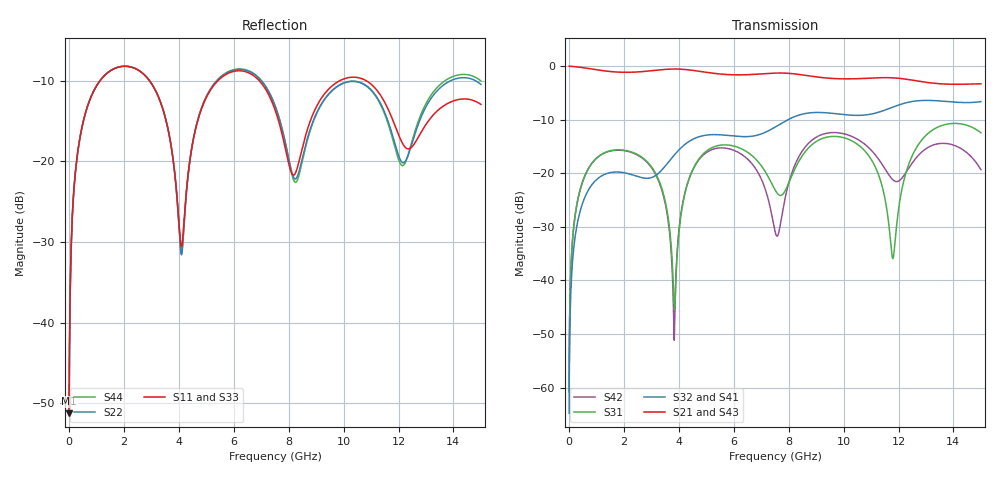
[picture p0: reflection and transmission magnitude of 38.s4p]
! Created with skrf 1.8.0 (http://scikit-rf.org).
# GHz S RI R 50.0
!freq ReS11 ImS11 ReS12 ImS12 ReS13 ImS13
! ReS14 ImS14
! ReS21 ImS21 ReS22 ImS22 ReS23 ImS23
! ReS24 ImS24
! ReS31 ImS31 ReS32 ImS32 ReS33 ImS33
! ReS34 ImS34
! ReS41 ImS41 ReS42 ImS42 ReS43 ImS43
! ReS44 ImS44
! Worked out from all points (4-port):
!   2499 points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, 5 MHz to 15 GHz, reference 50 ohm
!   strongest paths, dB at 5 MHz, 3.476 GHz, 7.19 GHz, 11.1 GHz, 15 GHz:
!     S21: 0.0, -0.6, -1.4, -2.2, -3.3
!     S43: 0.0, -0.6, -1.4, -2.2, -3.4
!     S32: -64.8, -18.8, -12.3, -8.9, -6.6
!     S41: -64.8, -18.9, -12.3, -8.9, -6.7
!     S31: -60.8, -24.6, -20.1, -18.3, -12.5
!     S42: -60.8, -25.0, -23.7, -16.2, -19.3
!   lowest |S11| = -51.3 dB at 5 MHz (marker M1), VSWR 1.01, Z = 50.2 + j0.166 ohm
!   |S11| at or under -10 dB: 2.932 GHz to 5.421 GHz (2.49 GHz wide, 59.6 % of centre); 6.931 GHz to 9.858 GHz (2.927 GHz wide, 34.9 % of centre); 10.83 GHz to end of sweep (the widest 3 of 4)
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0.005  0.00218 0.00165  0.9978 -0.00424  0.000113 0.000909  -0.000109 -0.000564
       0.9978 -0.00424  0.00218 0.00165  -0.000109 -0.000564  0.000113 0.000909
       0.000113 0.000909  -0.000109 -0.000564  0.00218 0.00165  0.9978 -0.00424
       -0.000109 -0.000564  0.000113 0.000909  0.9978 -0.00424  0.00218 0.00165
1.3193  0.3066 0.1559  0.4598 -0.7737  0.1484 0.0496  -0.0976 0.00946
        0.4598 -0.7737  0.3074 0.1552  -0.0977 0.00963  0.1462 0.0533
        0.1484 0.0496  -0.0977 0.00963  0.3065 0.156  0.4598 -0.7737
        -0.0976 0.00946  0.1462 0.0533  0.4598 -0.7737  0.3074 0.1551
3.832847  0.0447 -0.0783  -0.8987 -0.2708  -0.00531 -0.0019  -0.0391 0.1424
          -0.8987 -0.2708  0.0415 -0.0799  -0.0372 0.1429  -0.00276 0.000136
          -0.00531 -0.0019  -0.0372 0.1429  0.0445 -0.0782  -0.8987 -0.2707
          -0.0391 0.1424  -0.00276 0.000136  -0.8987 -0.2707  0.0417 -0.0797
4.802001  0.1386 0.1527  -0.7887 0.4105  0.1148 0.0857  0.1301 0.1787
          -0.7887 0.4105  0.1378 0.1555  0.1326 0.1775  0.1057 0.0921
          0.1148 0.0857  0.1326 0.1775  0.1377 0.1533  -0.7885 0.4107
          0.1301 0.1787  0.1057 0.0921  -0.7885 0.4107  0.1393 0.1556
8.172155  0.0818 -0.00602  0.8308 0.1682  -0.0335 0.0966  0.0649 -0.328
          0.8308 0.1682  0.0766 -0.0237  0.0562 -0.329  0.00284 0.1101
          -0.0335 0.0966  0.0562 -0.329  0.0872 -0.00877  0.8306 0.1689
          0.0649 -0.328  0.00284 0.1101  0.8306 0.1689  0.0727 -0.0262
10.89204  0.2969 -0.0933  -0.1305 -0.7588  0.0984 -0.1112  -0.3346 0.1051
          -0.1305 -0.7588  0.2752 -0.0889  -0.3321 0.1174  0.0866 -0.1525
          0.0984 -0.1112  -0.3321 0.1174  0.2915 -0.0921  -0.1317 -0.7598
          -0.3346 0.1051  0.0866 -0.1525  -0.1317 -0.7598  0.2728 -0.0897
15  0.223 -0.0331  0.039 0.682  0.1139 -0.2095  0.4578 -0.0631
    0.039 0.682  0.282 -0.1019  0.4574 -0.0885  0.06 -0.0899
    0.1139 -0.2095  0.4574 -0.0885  0.2314 -0.0181  0.0384 0.6781
    0.4578 -0.0631  0.06 -0.0899  0.0384 0.6781  0.2938 -0.1145
